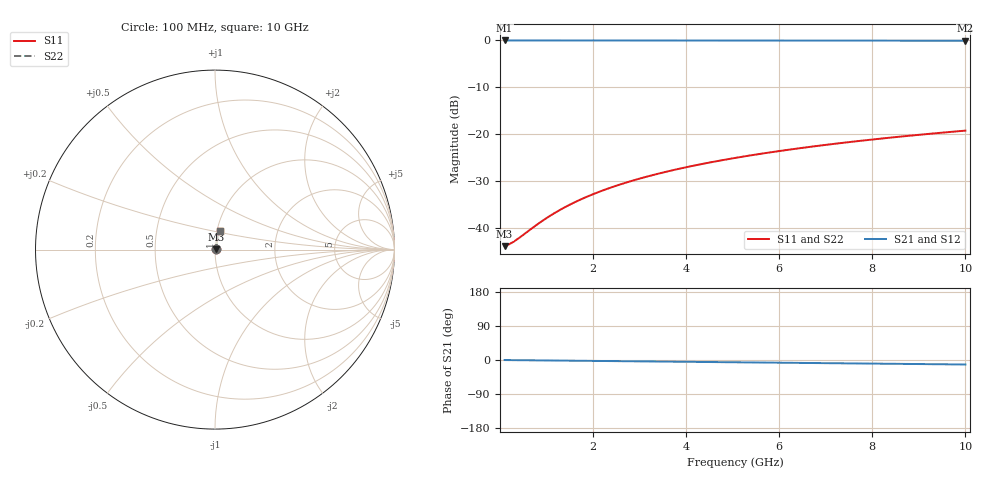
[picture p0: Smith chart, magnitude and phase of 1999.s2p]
# Hz S RI R 50.00
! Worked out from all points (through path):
!   100 points, 100 MHz to 10 GHz, reference 50 ohm
!   highest |S21| = -0.06 dB at 100 MHz (marker M1); lowest = -0.1 dB at 10 GHz (marker M2)
!   group delay of S21, straight-line fit = 3.3 ps
!   lowest |S11| = -43.8 dB at 100 MHz (marker M3), VSWR 1.01, Z = 50.6 + j0.11 ohm
!   |S11| at or under -10 dB: start of sweep to end of sweep
!   |S22| runs from -43.8 to -19.2 dB; largest |S21 - S12| = 0
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1e8  0.00635 0.00109  0.9937 -0.00206  0.9937 -0.00206  0.00635 0.00109
2e8  0.00639 0.00218  0.9936 -0.00413  0.9936 -0.00413  0.00639 0.00218
3e8  0.00644 0.00327  0.9936 -0.00619  0.9936 -0.00619  0.00644 0.00327
4e8  0.00648 0.00435  0.9935 -0.00826  0.9935 -0.00826  0.00648 0.00435
8e8  0.00666 0.0087  0.9933 -0.0165  0.9933 -0.0165  0.00666 0.0087
1.1e9  0.00682 0.012  0.9931 -0.0227  0.9931 -0.0227  0.00682 0.012
1.4e9  0.00703 0.0152  0.9929 -0.0289  0.9929 -0.0289  0.00703 0.0152
1.6e9  0.00718 0.0174  0.9927 -0.033  0.9927 -0.033  0.00718 0.0174
1.8e9  0.00735 0.0196  0.9925 -0.0371  0.9925 -0.0371  0.00735 0.0196
2.1e9  0.00764 0.0228  0.9921 -0.0433  0.9921 -0.0433  0.00764 0.0228
2.5e9  0.00809 0.0271  0.9916 -0.0515  0.9916 -0.0515  0.00809 0.0271
2.9e9  0.0086 0.0314  0.991 -0.0598  0.991 -0.0598  0.0086 0.0314
3.4e9  0.00934 0.0368  0.9901 -0.07  0.9901 -0.07  0.00934 0.0368
3.8e9  0.01 0.0411  0.9893 -0.0782  0.9893 -0.0782  0.01 0.0411
4.2e9  0.0108 0.0454  0.9884 -0.0864  0.9884 -0.0864  0.0108 0.0454
4.6e9  0.0116 0.0497  0.9874 -0.0946  0.9874 -0.0946  0.0116 0.0497
5.1e9  0.0127 0.055  0.986 -0.1048  0.986 -0.1048  0.0127 0.055
5.9e9  0.0147 0.0634  0.9836 -0.121  0.9836 -0.121  0.0147 0.0634
6.7e9  0.017 0.0718  0.9808 -0.1372  0.9808 -0.1372  0.017 0.0718
7.5e9  0.0195 0.08  0.9777 -0.1533  0.9777 -0.1533  0.0195 0.08
8.4e9  0.0227 0.0892  0.9738 -0.1713  0.9738 -0.1713  0.0227 0.0892
1e10  0.0292 0.1052  0.9659 -0.2029  0.9659 -0.2029  0.0292 0.1052
